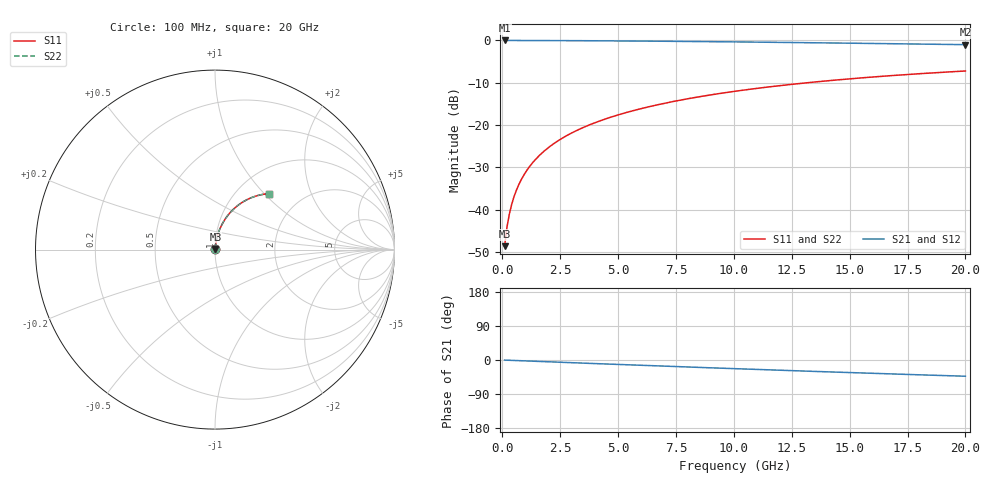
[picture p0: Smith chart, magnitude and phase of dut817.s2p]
! Touchstone file exported from HFSS 2026.1.0
!  File:  C:/ffzhzh/LocalFiles/Ansys_Project_Files/temp_train_TMRDL_817_1783156402_43440.aedt
!  Generated:  05:14:41 PM Jul  4, 2026
!  Design:  TMRDL
!  Project:  temp_train_TMRDL_817_1783156402_43440
! Variables:
!  h_bsmrdl = 2um
!  h_ox = 20um
!  h_rdl = 5um
!  h_sub = 80um
!  h_tmrdl = 5.74um
!  h_tsv = 80um
!  h_via = 3um
!  l_bsmrdl = 300um
!  l_sub = 1004.59um
!  l_tmrdl = 604.59um
!  m_sub = 200um
!  pitch = 50.67um
!  r_tsv = 6um
!  s_tmrdl = 10um
!  w_bsmrdl = 18um
!  w_sub = 500um
!  w_tmrdl = 16.44um
!  x_tsv_center1 = 612.81um
!  x_tsv_center2 = 930.81um
!  x_tsv_center3 = 1551.84um
!  x_tsv_center4 = 1869.84um
!  x_tsv_center5 = 2490.87um
!  x_tsv_center6 = 2808.87um
# GHz S MA R 50.000000
! Terminal data exported
! Port[1] = TM_RDL1_1_T1
! Port[2] = TM_RDL1_1_T2
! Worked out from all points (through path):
!   200 points, 100 MHz to 20 GHz, reference 50 ohm
!   highest |S21| = -0.02 dB at 100 MHz (marker M1); lowest = -1.0 dB at 20 GHz (marker M2)
!   group delay of S21, straight-line fit = 5.95 ps
!   lowest |S11| = -48.6 dB at 100 MHz (marker M3), VSWR 1.01, Z = 50.2 + j0.286 ohm
!   |S11| at or under -10 dB: start of sweep to 13.18 GHz
!   |S22| runs from -48.6 to -7.2 dB; largest |S21 - S12| = 3.5e-15
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0.1  0.003713 50.2  0.9976 -0.2  0.9976 -0.2  0.003713 50.2
! Gamma 0 0 0 0
! Port Impedance 50 0 50 0
0.2  0.006166 66.0  0.9975 -0.5  0.9975 -0.5  0.006166 66.0
0.3  0.008771 72.4  0.9974 -0.7  0.9974 -0.7  0.008771 72.4
0.4  0.01142 75.8  0.9973 -1.0  0.9973 -1.0  0.01142 75.8
0.5  0.01408 77.9  0.9972 -1.2  0.9972 -1.2  0.01408 77.9
0.7  0.01945 80.2  0.9971 -1.7  0.9971 -1.7  0.01945 80.2
0.8  0.02215 80.8  0.997 -1.9  0.997 -1.9  0.02215 80.8
1  0.02754 81.5  0.9967 -2.4  0.9967 -2.4  0.02754 81.5
1.2  0.03294 81.9  0.9964 -2.9  0.9964 -2.9  0.03294 81.9
1.4  0.03833 81.9  0.9961 -3.4  0.9961 -3.4  0.03833 81.9
1.7  0.04638 81.8  0.9956 -4.1  0.9956 -4.1  0.04638 81.8
2  0.05439 81.5  0.995 -4.8  0.995 -4.8  0.05439 81.5
2.7  0.0729 80.3  0.9932 -6.4  0.9932 -6.4  0.0729 80.3
3.5  0.0937 78.8  0.9908 -8.3  0.9908 -8.3  0.0937 78.8
4.2  0.1116 77.3  0.9884 -9.9  0.9884 -9.9  0.1116 77.3
5  0.1317 75.7  0.9853 -11.7  0.9853 -11.7  0.1317 75.7
6.8  0.1758 71.9  0.9773 -15.8  0.9773 -15.8  0.1758 71.9
8.3  0.2111 68.8  0.9696 -19.1  0.9696 -19.1  0.2111 68.8
10.1  0.2517 65.0  0.9593 -23.0  0.9593 -23.0  0.2517 65.0
13.4  0.3206 58.4  0.9377 -29.9  0.9377 -29.9  0.3206 58.4
16.7  0.3817 51.9  0.9141 -36.6  0.9141 -36.6  0.3817 51.9
20  0.4349 45.8  0.89 -42.8  0.89 -42.8  0.4349 45.8
